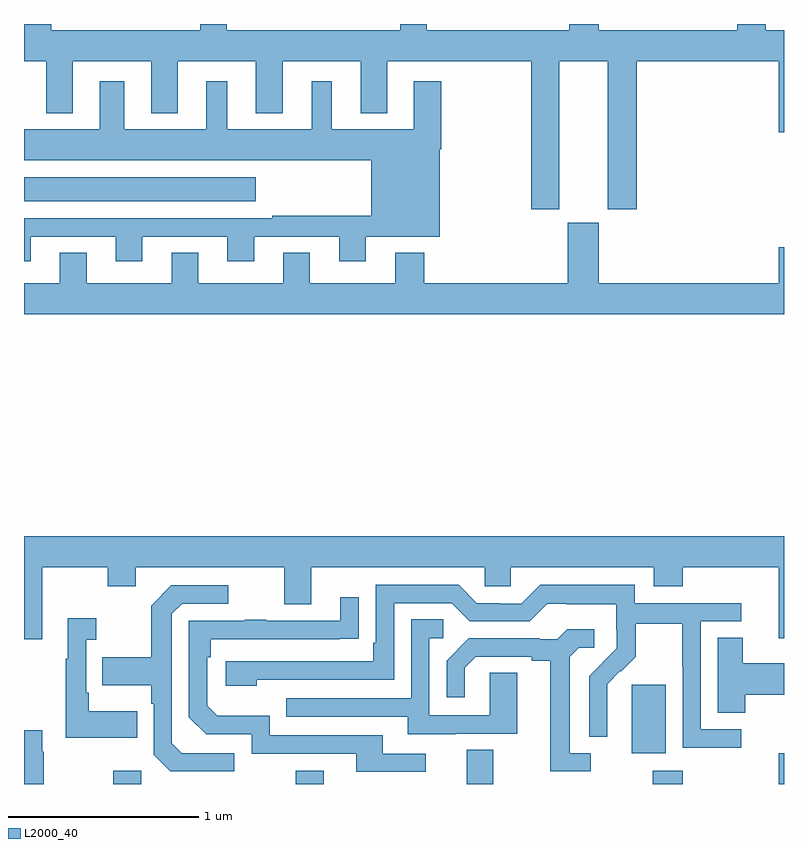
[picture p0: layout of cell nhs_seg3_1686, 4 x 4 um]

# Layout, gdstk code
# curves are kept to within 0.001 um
import gdstk
lib = gdstk.Library(unit=1e-6, precision=1e-09)
def R(c, l, rs):  # rectangles x0, y0, x1, y1
    for r in rs: c.add(gdstk.rectangle(r[:2], r[2:], *l))
def P(c, l, *ps):  # polygons
    for p in ps: c.add(gdstk.Polygon(p, *l))
L2000_40 = (2000, 40)

nhs_seg3_1686 = lib.new_cell('nhs_seg3_1686')
R(nhs_seg3_1686, L2000_40, [(197.47,742.4,197.616,742.471), (198.43,742.4,198.577,742.471), (199.331,742.4,199.471,742.58), (200.308,742.4,200.468,742.471), (200.972,742.4,201,742.561), (200.198,742.562,200.377,742.923), (197,745.466,198.22,745.594)])
P(nhs_seg3_1686, L2000_40, [(198.067,746.4),(197.927,746.4),(197.927,746.368),(197.143,746.368),(197.143,746.4),(197,746.4),(197,746.204),(197.117,746.204),(197.117,745.931),(197.257,745.931),(197.257,746.204),(197.669,746.204),(197.669,745.931),(197.809,745.931),(197.809,746.204),(198.221,746.204),(198.221,745.931),(198.361,745.931),(198.361,746.204),(198.773,746.204),(198.773,745.931),(198.913,745.931),(198.913,746.204),(199.669,746.204),(199.669,745.425),(199.816,745.425),(199.816,746.204),(200.072,746.204),(200.072,745.425),(200.225,745.425),(200.225,746.204),(200.972,746.204),(200.972,745.83),(201,745.83),(201,746.368),(200.905,746.368),(200.905,746.4),(200.753,746.4),(200.753,746.368),(200.024,746.368),(200.024,746.4),(199.871,746.4),(199.871,746.368),(199.119,746.368),(199.119,746.4),(198.981,746.4),(198.981,746.368),(198.067,746.368)],
  [(197.035,745.281),(197.483,745.281),(197.483,745.152),(197.623,745.152),(197.623,745.281),(198.071,745.281),(198.071,745.152),(198.211,745.152),(198.211,745.281),(198.659,745.281),(198.659,745.152),(198.799,745.152),(198.799,745.28),(199.189,745.28),(199.189,745.742),(199.197,745.742),(199.197,746.098),(199.052,746.098),(199.052,745.846),(198.619,745.846),(198.619,746.098),(198.515,746.098),(198.515,745.846),(198.07,745.846),(198.07,746.098),(197.96,746.098),(197.96,745.846),(197.527,745.846),(197.527,746.098),(197.399,746.098),(197.399,745.846),(197,745.846),(197,745.682),(198.827,745.682),(198.827,745.39),(198.307,745.39),(198.307,745.377),(197,745.377),(197,745.152),(197.035,745.152)],
  [(201,745.225),(200.972,745.225),(200.972,745.036),(200.026,745.036),(200.026,745.353),(199.862,745.353),(199.862,745.036),(199.106,745.036),(199.106,745.195),(198.953,745.195),(198.953,745.036),(198.505,745.036),(198.505,745.196),(198.365,745.196),(198.365,745.036),(197.917,745.036),(197.917,745.196),(197.777,745.196),(197.777,745.036),(197.329,745.036),(197.329,745.196),(197.189,745.196),(197.189,745.036),(197,745.036),(197,744.872),(201,744.872)],
  [(197.095,743.54),(197.44,743.54),(197.44,743.441),(197.587,743.441),(197.587,743.54),(198.371,743.54),(198.371,743.346),(198.511,743.346),(198.511,743.54),(199.425,743.54),(199.425,743.442),(199.563,743.442),(199.563,743.54),(200.315,743.54),(200.315,743.441),(200.468,743.441),(200.468,743.54),(200.972,743.54),(200.972,743.166),(201,743.166),(201,743.704),(197,743.704),(197,743.163),(197.095,743.163)],
  [(200.776,742.689),(200.562,742.689),(200.562,743.256),(200.776,743.256),(200.776,743.352),(200.214,743.352),(200.214,743.449),(199.717,743.449),(199.617,743.349),(199.502,743.349),(199.502,743.352),(199.383,743.352),(199.287,743.448),(198.852,743.448),(198.852,743.143),(198.839,743.143),(198.839,743.046),(198.063,743.046),(198.063,742.916),(198.224,742.916),(198.224,742.95),(198.948,742.95),(198.948,743.352),(199.251,743.352),(199.347,743.256),(199.662,743.256),(199.755,743.349),(199.855,743.349),(199.855,743.345),(200.118,743.345),(200.118,743.211),(200.12,743.211),(200.12,743.114),(199.974,742.966),(199.974,742.648),(200.07,742.648),(200.069,742.925),(200.139,742.995),(200.142,742.992),(200.219,743.069),(200.219,743.244),(200.464,743.244),(200.464,743.02),(200.466,743.02),(200.466,742.591),(200.776,742.591)],
  [(198.106,742.563),(197.829,742.563),(197.778,742.614),(197.778,743.295),(197.832,743.349),(198.076,743.349),(198.076,743.445),(197.775,743.445),(197.67,743.339),(197.67,743.067),(197.413,743.067),(197.413,742.919),(197.67,742.919),(197.67,742.823),(197.682,742.823),(197.682,742.554),(197.769,742.467),(198.106,742.467)],
  [(199.114,742.56),(198.889,742.56),(198.889,742.656),(198.294,742.656),(198.294,742.759),(198.017,742.759),(197.964,742.812),(197.964,743.066),(197.984,743.066),(197.984,743.163),(198.761,743.164),(198.761,743.383),(198.665,743.383),(198.665,743.259),(198.275,743.259),(198.275,743.264),(198.163,743.264),(198.163,743.259),(197.868,743.259),(197.868,742.752),(197.958,742.662),(198.198,742.662),(198.198,742.56),(198.749,742.56),(198.749,742.464),(199.114,742.464)],
  [(197.597,742.783),(197.341,742.783),(197.341,742.879),(197.328,742.879),(197.328,743.159),(197.38,743.159),(197.38,743.272),(197.231,743.272),(197.231,743.059),(197.22,743.059),(197.22,742.643),(197.597,742.643)],
  [(199.273,742.665),(199.597,742.665),(199.597,742.985),(199.452,742.985),(199.452,742.761),(199.134,742.761),(199.134,743.166),(199.207,743.166),(199.207,743.267),(199.038,743.267),(199.038,742.851),(198.379,742.851),(198.379,742.755),(199.019,742.755),(199.019,742.661),(199.273,742.661)],
  [(199.984,742.563),(199.873,742.563),(199.873,743.071),(199.92,743.118),(200.002,743.118),(200.002,743.215),(199.858,743.215),(199.806,743.163),(199.712,743.163),(199.712,743.166),(199.34,743.166),(199.224,743.05),(199.224,742.857),(199.321,742.857),(199.321,743.013),(199.378,743.07),(199.673,743.07),(199.673,743.048),(199.769,743.048),(199.769,742.467),(199.984,742.467)],
  [(200.795,742.87),(201,742.87),(201,743.035),(200.782,743.035),(200.782,743.171),(200.651,743.171),(200.651,742.774),(200.795,742.774)],
  [(197.103,742.571),(197.095,742.571),(197.095,742.684),(197,742.684),(197,742.4),(197.103,742.4)])

lib.write_gds('nhs_seg3_1686.gds')
